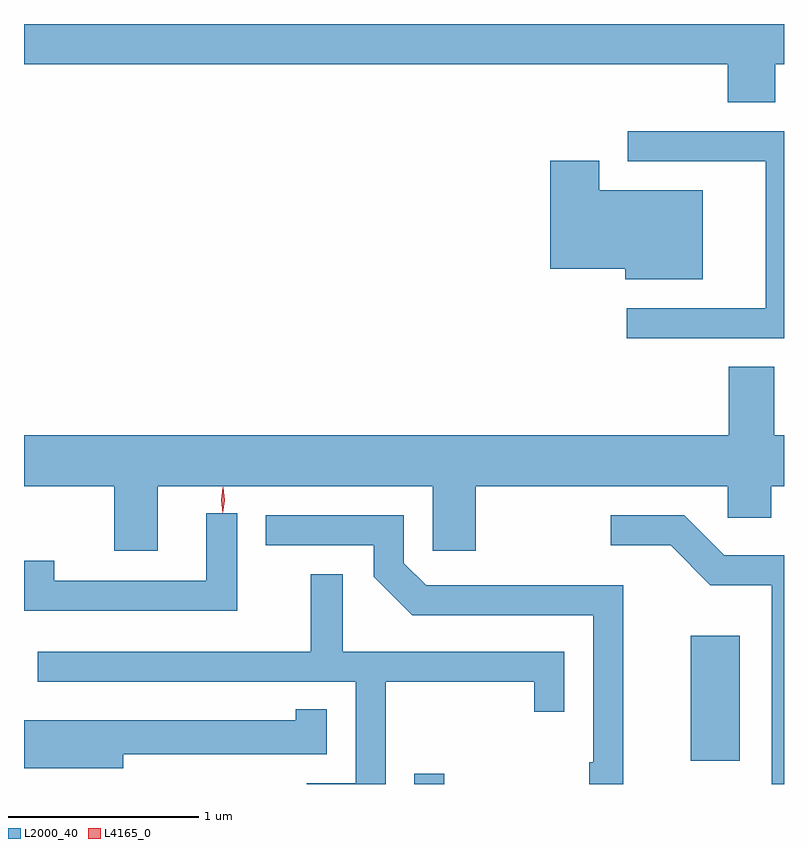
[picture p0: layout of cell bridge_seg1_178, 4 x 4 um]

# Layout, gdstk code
import gdstk
lib = gdstk.Library(unit=1e-6, precision=1e-09)
def R(c, l, rs):  # rectangles x0, y0, x1, y1
    for r in rs: c.add(gdstk.rectangle(r[:2], r[2:], *l))
def P(c, l, *ps):  # polygons
    for p in ps: c.add(gdstk.Polygon(p, *l))
L2000_40 = (2000, 40)
L4165_0 = (4165, 0)

bridge_seg1_178 = lib.new_cell('bridge_seg1_178')
R(bridge_seg1_178, L2000_40, [(728.481,940.189,728.639,940.243), (729.936,940.311,730.194,940.969)])
P(bridge_seg1_178, L2000_40, [(730.379,943.976),(730.426,943.976),(730.426,944.189),(726.426,944.189),(726.426,943.976),(730.131,943.976),(730.131,943.776),(730.379,943.776)],
  [(730.426,943.624),(729.603,943.624),(729.603,943.466),(730.331,943.466),(730.331,942.694),(729.598,942.694),(729.598,942.536),(730.426,942.536)],
  [(729.999,943.314),(729.454,943.314),(729.454,943.469),(729.196,943.469),(729.196,942.901),(729.591,942.901),(729.591,942.846),(729.999,942.846)],
  [(726.426,941.756),(726.901,941.756),(726.901,941.416),(727.129,941.416),(727.129,941.756),(728.576,941.756),(728.576,941.416),(728.804,941.416),(728.804,941.756),(730.131,941.756),(730.131,941.591),(730.359,941.591),(730.359,941.756),(730.426,941.756),(730.426,942.024),(730.374,942.024),(730.374,942.384),(730.136,942.384),(730.136,942.024),(726.426,942.024)],
  [(727.549,941.613),(727.386,941.613),(727.386,941.259),(726.584,941.259),(726.584,941.364),(726.426,941.364),(726.426,941.101),(727.549,941.101)],
  [(729.579,941.234),(728.542,941.234),(728.424,941.352),(728.424,941.604),(727.698,941.604),(727.698,941.446),(728.266,941.446),(728.266,941.279),(728.469,941.076),(729.421,941.076),(729.421,940.304),(729.401,940.304),(729.401,940.189),(729.579,940.189)],
  [(730.426,941.394),(730.112,941.394),(729.902,941.604),(729.513,941.604),(729.513,941.446),(729.829,941.446),(730.039,941.236),(730.361,941.236),(730.361,940.189),(730.426,940.189)],
  [(728.329,940.726),(729.111,940.726),(729.111,940.568),(729.269,940.568),(729.269,940.884),(728.104,940.884),(728.104,941.293),(727.936,941.293),(727.936,940.884),(726.498,940.884),(726.498,940.726),(728.171,940.726),(728.171,940.194),(727.913,940.194),(727.913,940.189),(728.329,940.189)],
  [(726.949,940.346),(728.019,940.346),(728.019,940.583),(727.856,940.583),(727.856,940.524),(726.426,940.524),(726.426,940.271),(726.949,940.271)])
P(bridge_seg1_178, L4165_0, [(727.472,941.616),(727.472,941.617),(727.463,941.682),(727.473,941.746),(727.474,941.747),(727.474,941.746),(727.483,941.682),(727.473,941.617)],
  [(727.472,941.613),(727.472,941.613),(727.463,941.682),(727.473,941.751),(727.473,941.752),(727.474,941.751),(727.483,941.682),(727.473,941.613)])

lib.write_gds('bridge_seg1_178.gds')
